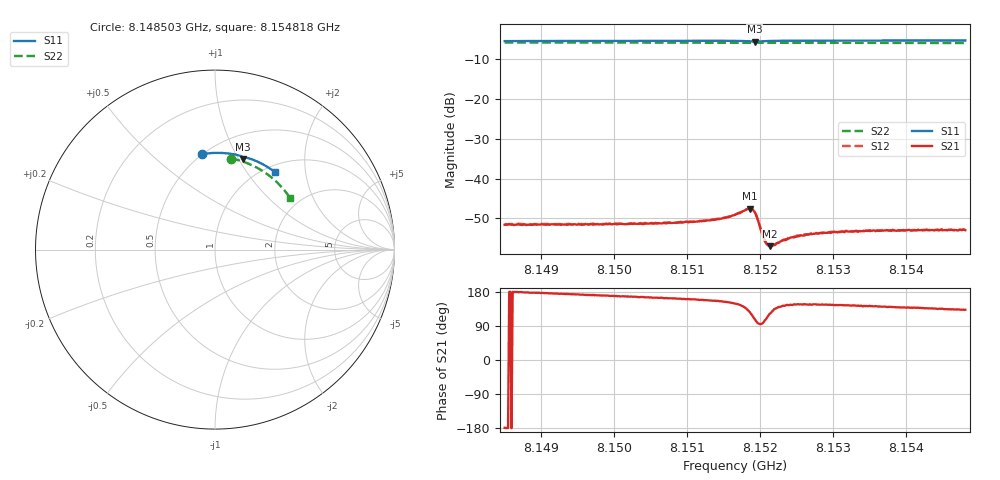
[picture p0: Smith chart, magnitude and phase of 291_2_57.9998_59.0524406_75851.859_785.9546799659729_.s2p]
#  HZ  S  RI  R  50.00
! Rohde & Schwarz Vector Network Analyzer
! Rohde-Schwarz,ZNB20-2Port,1311601062101988,3.16
! Created: UTC 3/21/2024, 1:03:17 AM
! freq[Hz]  re:S11  im:S11  re:S21  im:S21  re:S12  im:S12  re:S22  im:S22
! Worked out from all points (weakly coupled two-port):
!   401 points, 8.148503 GHz to 8.154818 GHz, reference 50 ohm
!   highest |S21| = -47.55 dB at 8.151866 GHz (marker M1); lowest = -57.0 dB at 8.152134 GHz (marker M2)
!   lowest |S11| = -5.5 dB at 8.151929 GHz (marker M3), VSWR 3.25, Z = 37.3 + j52.4 ohm
!   |S11| at or under -10 dB: nowhere
!   |S22| runs from -5.9 to -5.8 dB; largest |S21 - S12| = 0.00014
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8.1485033e9  -0.075 0.5317  -0.00261 -4.56e-05  -0.00266 -5.52e-06  0.0913 0.5072
8.149561e9  -0.00155 0.5387  -0.00259 0.000346  -0.00265 0.000414  0.1579 0.4893
8.1506187e9  0.0722 0.5356  -0.00262 0.000749  -0.00263 0.000823  0.2213 0.4631
8.1512818e9  0.1186 0.5282  -0.00275 0.00111  -0.00273 0.00119  0.2586 0.4422
8.1515028e9  0.1344 0.5242  -0.00286 0.0014  -0.00286 0.00143  0.2706 0.4347
8.1516606e9  0.1463 0.5202  -0.00299 0.0018  -0.00299 0.00183  0.2791 0.4288
8.1518185e9  0.1575 0.5125  -0.0029 0.0029  -0.00285 0.00291  0.2872 0.4228
8.1518659e9  0.1589 0.5087  -0.00245 0.0034  -0.00239 0.00347  0.2896 0.421
8.1518975e9  0.1586 0.5065  -0.00188 0.00364  -0.00182 0.0037  0.2912 0.4199
8.151929e9  0.1575 0.5055  -0.00119 0.00361  -0.00114 0.00362  0.2928 0.4188
8.1519764e9  0.1561 0.5071  -0.000348 0.00294  -0.000286 0.00297  0.2951 0.4171
8.1520553e9  0.1601 0.5112  -0.000313 0.00175  -0.000283 0.00175  0.2991 0.4143
8.1520869e9  0.1627 0.5122  -0.000474 0.00145  -0.000471 0.00149  0.3008 0.4131
8.1521027e9  0.1641 0.5125  -0.000574 0.00135  -0.000559 0.00136  0.3016 0.4124
8.1521343e9  0.1668 0.5127  -0.000738 0.0012  -0.000727 0.00125  0.3033 0.4114
8.1521816e9  0.1707 0.5124  -0.000944 0.0011  -0.000961 0.0011  0.3057 0.4094
8.1523079e9  0.1808 0.5107  -0.00131 0.001  -0.00129 0.00104  0.3122 0.4045
8.1524184e9  0.1888 0.5085  -0.00149 0.00101  -0.0015 0.00104  0.3176 0.4
8.1527184e9  0.2095 0.5015  -0.00166 0.00111  -0.00168 0.00113  0.3323 0.3875
8.1532078e9  0.2412 0.4879  -0.00176 0.00125  -0.00172 0.00129  0.3549 0.366
8.1537761e9  0.2764 0.4699  -0.0017 0.00141  -0.00168 0.00142  0.3793 0.3393
8.154818e9  0.3367 0.4307  -0.00151 0.00164  -0.00152 0.00168  0.4187 0.2866
